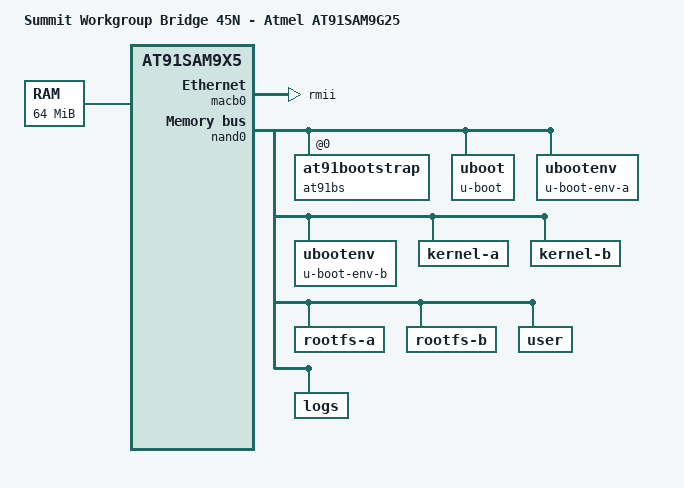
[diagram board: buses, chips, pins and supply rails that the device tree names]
// SPDX-License-Identifier: LicenseRef-Ezurio-Clause
/*
 * at91-wb45n.dtsi - Device Tree include file for WB45NBT CPU module
 *
 * Copyright (C) 2018 Ezurio
 */

#include "at91sam9g25.dtsi"

/ {
	model = "Summit Workgroup Bridge 45N - Atmel AT91SAM9G25";
	compatible = "summit,wb45n", "atmel,at91sam9g25", "atmel,at91sam9x5";

	chosen {
		stdout-path = "serial0:115200n8";
	};

	memory {
		reg = <0x20000000 0x4000000>;
	};

	ahb {
		apb {
			shdwc@fffffe10 {
				atmel,wakeup-mode = "low";
			};

			watchdog@fffffe40 {
				atmel,idle-halt;
				status = "okay";
			};

			rtc@fffffeb0 {
				status = "okay";
			};

			pinctrl@fffff400 {
				board {
					pinctrl_usba_vbus: usba_vbus {
						atmel,pins =
							<AT91_PIOB 11 AT91_PERIPH_GPIO AT91_PINCTRL_DEGLITCH>;		/* PB11 gpio vbus sense, deglitch */
					};

					pinctrl_usb_vbus: usb_vbus {
						atmel,pins =
							<AT91_PIOB 12 AT91_PERIPH_GPIO AT91_PINCTRL_NONE>,
							<AT91_PIOA 31 AT91_PERIPH_GPIO AT91_PINCTRL_NONE>,
							<AT91_PIOB 13 AT91_PERIPH_GPIO AT91_PINCTRL_DEGLITCH>;
					};

					pinctrl_wifi_pmu_en: wifi_pmu_en {
						atmel,pins =
							<AT91_PIOA 25 AT91_PERIPH_GPIO AT91_PINCTRL_PULL_UP>;
					};

					pinctrl_nand0_wp: nand0_wp {
						bootph-all;
						atmel,pins =
							<AT91_PIOD 10 AT91_PERIPH_GPIO AT91_PINCTRL_NONE>;
					};
				};
			};
		};
	};
};

&slow_xtal {
	clock-frequency = <32768>;
};

&main_xtal {
	clock-frequency = <12000000>;
};

&slow_osc {
	atmel,startup-time-usec = <1200000>;
};

&mmc0 {
	pinctrl-names = "default";
	pinctrl-0 = <&pinctrl_mmc0_slot0_clk_cmd_dat0 &pinctrl_mmc0_slot0_dat1_3>;

	slot@0 {
		reg = <0>;
		bus-width = <4>;
	};
};

&macb0 {
	phy-mode = "rmii";
};

&dbgu {
	bootph-all;
};

&nand0 {
	pinctrl-0 = <&pinctrl_nand0_wp>;

	nand-bus-width = <8>;
	nand-ecc-mode = "hw";
	atmel,has-pmecc;
	atmel,pmecc-cap = <4>;
	atmel,pmecc-sector-size = <512>;
	nand-on-flash-bbt;

	status = "okay";

	at91bootstrap@0 {
		label = "at91bs";
		reg = <0x0 0x20000>;
	};

	uboot@20000 {
		label = "u-boot";
		reg = <0x20000 0x80000>;
	};

	ubootenv@a0000 {
		label = "u-boot-env-a";
		reg = <0xa0000 0x20000>;
	};

	ubootenv@c0000 {
		label = "u-boot-env-b";
		reg = <0xc0000 0x20000>;
	};

	kernel-a@e0000 {
		label = "kernel-a";
		reg = <0xe0000 0x280000>;
	};

	kernel-b@360000 {
		label = "kernel-b";
		reg = <0x360000 0x280000>;
	};

	rootfs-a@5e0000 {
		label = "rootfs-a";
		reg = <0x5e0000 0x2600000>;
	};

	rootfs-b@2be0000 {
		label = "rootfs-b";
		reg = <0x2be0000 0x2600000>;
	};

	user@51e0000 {
		label = "user";
		reg = <0x51e0000 0x2d20000>;
	};

	logs@7fa0000 {
		label = "logs";
		reg = <0x7f00000 0x80000>;
	};
};

&usb0 {
	pinctrl-names = "default";
	pinctrl-0 = <&pinctrl_usb_vbus>;

	num-ports = <2>;

	atmel,vbus-gpio = <&pioB 12 GPIO_ACTIVE_HIGH>, <&pioA 31 GPIO_ACTIVE_HIGH>;
	atmel,oc-gpio = <&pioB 13 GPIO_ACTIVE_LOW>, <0>;
};

&usb2 {
	pinctrl-names = "default";
	pinctrl-0 = <&pinctrl_usba_vbus>;

	atmel,vbus-gpio = <&pioB 11 GPIO_ACTIVE_HIGH>;
};
